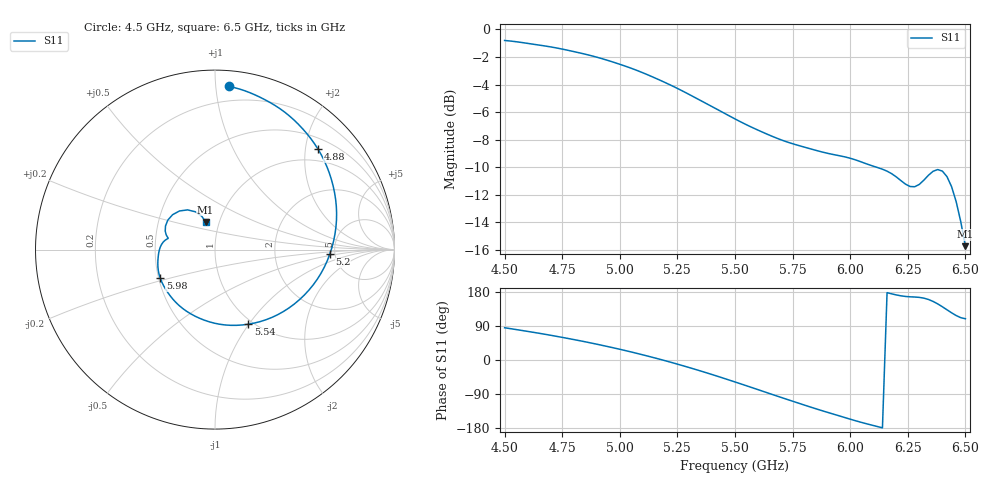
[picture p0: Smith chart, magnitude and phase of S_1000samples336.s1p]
! TOUCHSTONE file generated by CST MICROWAVE STUDIO
! Date and time: Thu Oct 27 19:56:04 2022
! Project name: L.cst
! Parameters = {Di=1.27; Epsilon_r=1.56; InnerDiameter=1.27; Length=2; Lf=10; Lg=60; OuterConductorThickness=0.2921; OuterDiameter=3.6; Wf=3; Wp=41.2; de=1.5; df=6.8; g=0.8; gx=4.44226; gy=2.94976; h=2.34; hf=1.524; px=14.8044; py=8.00682; w=9.7; wx=10.3621; wy=5.05705}
! Header version: 2018
! Port assignment regex: !\s*Touchstone port\s*([0-9]+)\s*=\s*(CST MWS port|CST DS port)\s*([0-9]+|Zmin|Zmax)\s*\(\"(.*)\"\)(\s*mode\s*([0-9]+))?.*
! Touchstone port assignment:
! Touchstone port 1 = CST MWS port 1 ("")
# GHz S DB R 50
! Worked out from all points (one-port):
!   101 points, 4.5 GHz to 6.5 GHz, reference 50 ohm
!   lowest |S11| = -15.7 dB at 6.5 GHz (marker M1), VSWR 1.39, Z = 43 + j13.6 ohm
!   |S11| at or under -10 dB: 6.114 GHz to end of sweep
!   S11 on the Smith chart (normalised r, x): 4.5 GHz: 0.10, +1.08; 4.88 GHz: 0.72, +2.26; 5.2 GHz: 4.51, -0.41; 5.54 GHz: 0.95, -0.99; 5.98 GHz: 0.51, -0.18; 6.5 GHz: 0.86, +0.27
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4.5  -0.80 85.1
4.64  -1.11 71.5
4.76  -1.46 58.6
4.88  -1.92 44.3
5  -2.53 28.3
5.1  -3.14 13.6
5.2  -3.88 -2.4
5.26  -4.36 -12.6
5.38  -5.42 -34.5
5.44  -5.96 -46.1
5.5  -6.50 -58.0
5.54  -6.84 -66.0
5.64  -7.61 -86.5
5.76  -8.35 -110.7
5.86  -8.82 -130.4
5.98  -9.26 -152.5
6  -9.35 -156.1
6.1  -9.93 -172.8
6.18  -10.47 174.6
6.26  -11.40 166.8
6.28  -11.42 166.2
6.32  -10.94 163.2
6.36  -10.30 154.5
6.4  -10.29 140.5
6.42  -10.69 132.5
6.44  -11.41 124.6
6.46  -12.50 117.3
6.5  -15.74 108.9
